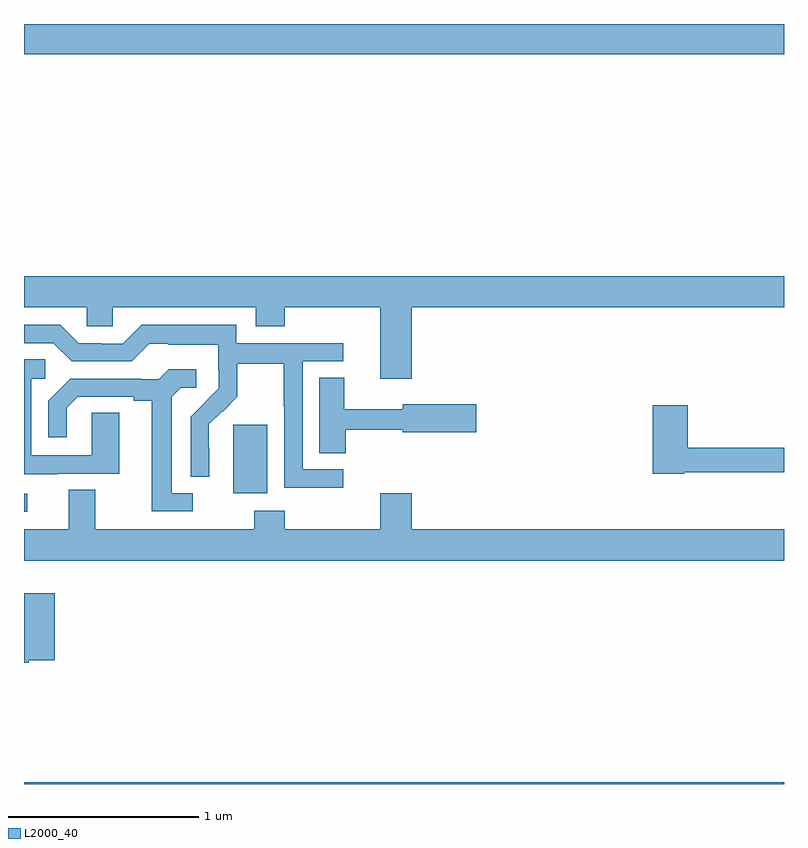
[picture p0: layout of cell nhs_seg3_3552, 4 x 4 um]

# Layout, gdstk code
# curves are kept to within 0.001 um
import gdstk
lib = gdstk.Library(unit=1e-6, precision=1e-09)
def R(c, l, rs):  # rectangles x0, y0, x1, y1
    for r in rs: c.add(gdstk.rectangle(r[:2], r[2:], *l))
def P(c, l, *ps):  # polygons
    for p in ps: c.add(gdstk.Polygon(p, *l))
L2000_40 = (2000, 40)

nhs_seg3_3552 = lib.new_cell('nhs_seg3_3552')
R(nhs_seg3_3552, L2000_40, [(295,706.4,299,706.408), (295,707.832,295.018,707.928), (296.102,707.93,296.281,708.291), (295,710.24,299,710.4)])
P(nhs_seg3_3552, L2000_40, [(297.04,708.908),(299,708.908),(299,709.072),(295,709.072),(295,708.908),(295.329,708.908),(295.329,708.81),(295.467,708.81),(295.467,708.908),(296.219,708.908),(296.219,708.809),(296.372,708.809),(296.372,708.908),(296.876,708.908),(296.876,708.534),(297.04,708.534)],
  [(296.68,708.057),(296.466,708.057),(296.466,708.624),(296.68,708.624),(296.68,708.72),(296.118,708.72),(296.118,708.817),(295.621,708.817),(295.521,708.717),(295.406,708.717),(295.406,708.72),(295.287,708.72),(295.191,708.816),(295,708.816),(295,708.72),(295.155,708.72),(295.251,708.624),(295.566,708.624),(295.659,708.717),(295.759,708.717),(295.759,708.713),(296.022,708.713),(296.022,708.579),(296.024,708.579),(296.024,708.482),(295.878,708.334),(295.878,708.016),(295.974,708.016),(295.973,708.293),(296.043,708.363),(296.046,708.36),(296.123,708.437),(296.123,708.612),(296.368,708.612),(296.368,708.388),(296.37,708.388),(296.37,707.959),(296.68,707.959)],
  [(295.177,708.033),(295.501,708.033),(295.501,708.353),(295.356,708.353),(295.356,708.129),(295.038,708.129),(295.038,708.534),(295.111,708.534),(295.111,708.635),(295,708.635),(295,708.029),(295.177,708.029)],
  [(295.888,707.931),(295.777,707.931),(295.777,708.439),(295.824,708.486),(295.906,708.486),(295.906,708.583),(295.762,708.583),(295.71,708.531),(295.616,708.531),(295.616,708.534),(295.244,708.534),(295.128,708.418),(295.128,708.225),(295.225,708.225),(295.225,708.381),(295.282,708.438),(295.577,708.438),(295.577,708.416),(295.673,708.416),(295.673,707.835),(295.888,707.835)],
  [(296.694,708.264),(296.994,708.264),(296.994,708.251),(297.379,708.251),(297.379,708.398),(296.994,708.398),(296.994,708.373),(296.686,708.373),(296.686,708.539),(296.555,708.539),(296.555,708.142),(296.694,708.142)],
  [(298.476,708.042),(299,708.042),(299,708.17),(298.493,708.17),(298.493,708.394),(298.31,708.394),(298.31,708.034),(298.476,708.034)],
  [(299,707.74),(297.04,707.74),(297.04,707.929),(296.876,707.929),(296.876,707.74),(296.372,707.74),(296.372,707.839),(296.212,707.839),(296.212,707.74),(295.375,707.74),(295.375,707.948),(295.235,707.948),(295.235,707.74),(295,707.74),(295,707.576),(299,707.576)],
  [(295.026,707.051),(295.163,707.051),(295.163,707.404),(295,707.404),(295,707.039),(295.026,707.039)])

lib.write_gds('nhs_seg3_3552.gds')
